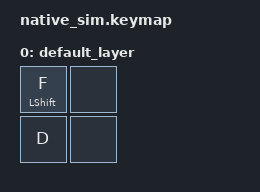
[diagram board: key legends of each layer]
#include <dt-bindings/zmk/keys.h>
#include <behaviors.dtsi>
#include <dt-bindings/zmk/input_mock.h>

/ {
    behaviors {
        ht_bal: behavior_balanced {
            compatible = "zmk,behavior-hold-tap";
            #binding-cells = <2>;
            flavor = "balanced";
            tapping-term-ms = <300>;
            bindings = <&kp>, <&kp>;
            retro-tap;
        };
    };

    keymap {
        compatible = "zmk,keymap";

        default_layer {
            bindings = <
                &ht_bal LEFT_SHIFT F &none
                &kp D &none>;
        };
    };
};


&mock_input {
    events = <
        /* tap */
        ZMK_INPUT_MOCK_PRESS(0,0,10)
        ZMK_INPUT_MOCK_RELEASE(0,0,10)
        /* retro tap */
        ZMK_INPUT_MOCK_PRESS(0,0,400)
        ZMK_INPUT_MOCK_RELEASE(0,0,10)
        /* hold  */
        ZMK_INPUT_MOCK_PRESS(0,0,400)
        ZMK_INPUT_MOCK_PRESS(1,0,10)
        ZMK_INPUT_MOCK_RELEASE(1,0,10)
        ZMK_INPUT_MOCK_RELEASE(0,0,10)
    >;
};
